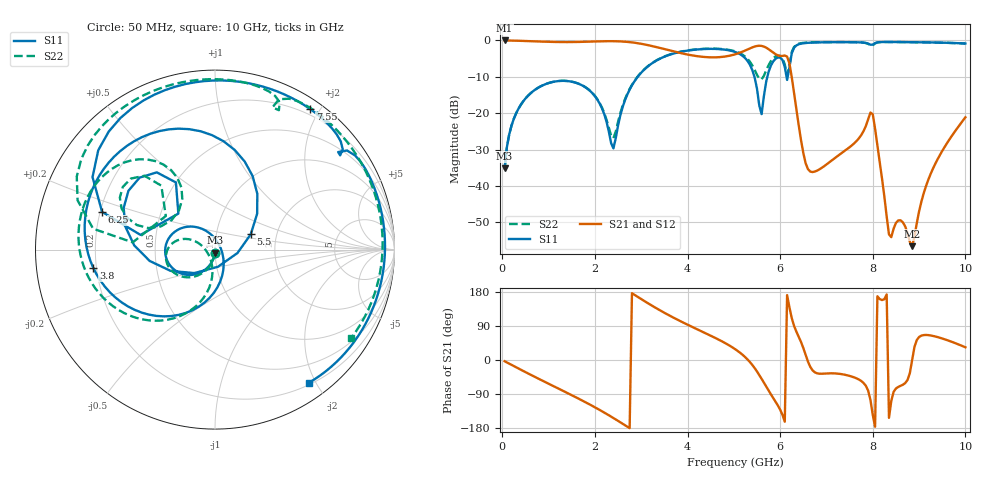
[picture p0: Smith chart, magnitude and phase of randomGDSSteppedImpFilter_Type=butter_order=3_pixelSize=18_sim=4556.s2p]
! freq	dB(S11)	phase(S11)	dB(S12)	phase(S12)
!  dB(S21)	phase(S21)	dB(S22)	phase(S22)
!S-par simulation data
#  GHz  S  DB  R 50
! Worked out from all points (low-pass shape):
!   200 points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, 50 MHz to 10 GHz, reference 50 ohm
!   highest |S21| = -0.01 dB at 50 MHz (marker M1); lowest = -56.6 dB at 8.85 GHz (marker M2)
!   |S21| within 3 dB of the highest: start of sweep to 3.695 GHz; 5.203 GHz to 5.814 GHz (610.6 MHz wide, 11.1 % of centre)
!   lowest |S11| = -35.2 dB at 50 MHz (marker M3), VSWR 1.04, Z = 49.9 - j1.73 ohm
!   |S11| at or under -10 dB: start of sweep to 2.926 GHz; 5.444 GHz to 5.724 GHz (279.4 MHz wide, 5 % of centre); 6.137936 GHz to 6.162774 GHz (24.84 MHz wide, 0.404 % of centre)
!   |S22| runs from -35.2 to -0.4 dB; largest |S21 - S12| = 0
!   S11 on the Smith chart (normalised r, x): 50 MHz: 1.00, -0.03; 3.8 GHz: 0.19, -0.07; 5.5 GHz: 1.47, +0.26; 6.25 GHz: 0.21, +0.16; 7.55 GHz: 0.13, +1.88; 10 GHz: 0.23, -1.90
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0.05  -35.22 -93.1  -0.01 -3.3  -0.01 -3.3  -35.21 -92.7
0.2  -23.39 -103.8  -0.04 -12.9  -0.04 -12.9  -23.38 -102.4
0.55  -15.28 -127.5  -0.18 -35.1  -0.18 -35.1  -15.27 -123.5
1.75  -12.54 152.4  -0.39 -108.4  -0.39 -108.4  -12.51 170.8
2.4  -29.69 14.7  -0.21 -153.1  -0.21 -153.1  -26.87 -143.6
2.75  -13.52 -86.4  -0.46 -179.9  -0.46 -179.9  -13.35 -98.6
3.4  -5.05 -143.1  -2.06 131.4  -2.06 131.4  -4.99 -136.4
3.8  -3.28 -171.5  -3.33 105.3  -3.33 105.3  -3.23 -159.3
5.05  -3.27 102.0  -3.74 26.8  -3.74 26.8  -3.09 136.1
5.5  -13.29 23.1  -1.52 -30.2  -1.52 -30.2  -9.47 122.8
5.6  -20.27 -80.2  -1.51 -49.8  -1.51 -49.8  -10.69 145.7
5.85  -5.78 165.8  -3.35 -100.2  -3.35 -100.2  -4.90 156.2
6.1  -7.27 120.2  -4.15 -162.8  -4.15 -162.8  -6.65 130.0
6.25  -3.56 161.5  -10.03 110.8  -10.03 110.8  -3.23 170.3
6.5  -0.78 120.3  -30.96 31.7  -30.96 31.7  -0.67 136.3
6.7  -0.59 103.7  -36.20 -27.3  -36.20 -27.3  -0.51 122.9
7.55  -0.48 55.9  -28.85 -43.8  -28.85 -43.8  -0.47 82.8
8  -1.16 38.4  -20.31 -144.9  -20.31 -144.9  -1.36 68.0
8.35  -0.43 20.9  -53.37 -152.6  -53.37 -152.6  -0.43 50.7
8.85  -0.48 -1.9  -56.59 0.4  -56.59 0.4  -0.48 27.3
9.25  -0.55 -19.8  -36.71 64.8  -36.71 64.8  -0.56 7.8
10  -0.84 -55.0  -21.14 33.5  -21.14 33.5  -0.87 -33.0
